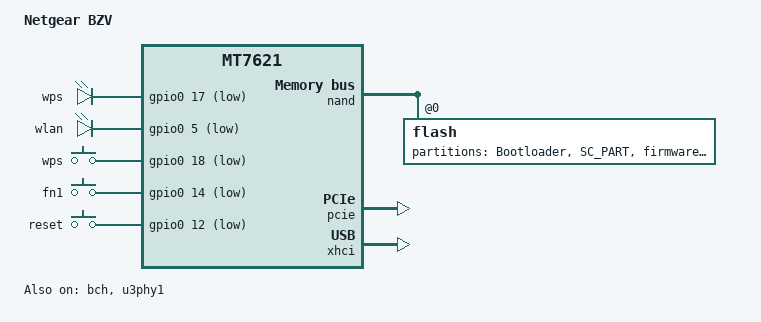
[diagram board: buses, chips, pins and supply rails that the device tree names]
/dts-v1/;

#include "mt7621.dtsi"
#include <dt-bindings/input/input.h>
#include "mt7621-raeth-gmac2.dtsi"
#include "mt7621-pinctrl-default-gpio.dtsi"

/ {
	compatible = "mediatek,mt7621-soc";
	model = "Netgear BZV";

	chosen {
		bootargs = "console=ttyS0,115200";
	};

	leds {
		compatible = "gpio-leds";

		wps {
			label = "wps";
			gpios = <&gpio0 17 GPIO_ACTIVE_LOW>;
		};

		wlan {
			label = "wlan";
			gpios = <&gpio0 5 GPIO_ACTIVE_LOW>;
		};
	};

	gpio-keys-polled {
		compatible = "gpio-keys-polled";
		#address-cells = <1>;
		#size-cells = <0>;
		poll-interval = <20>;

		wps {
			label = "wps";
			gpios = <&gpio0 18 GPIO_ACTIVE_LOW>;
			linux,code = <KEY_WPS_BUTTON>;
		};

		fn1 { /* wlan */
			label = "fn1";
			gpios = <&gpio0 14 GPIO_ACTIVE_LOW>;
			linux,code = <KEY_FN_1>;
		};

		reset {
			label = "reset";
			gpios = <&gpio0 12 GPIO_ACTIVE_LOW>;
			linux,code = <KEY_RESTART>;
		};
	};

};

&bch {
	status = "okay";
};

&nand {
	status = "okay";

	flash@0 {
		reg = <0>;
		nand-ecc-mode = "hw";
		partitions {
			compatible = "fixed-partitions";
			#address-cells = <1>;
			#size-cells = <1>;

			partition@0 {
				label = "Bootloader";
				reg = <0x0 0x100000>;		/* 1m */
			};

			partition@100000 {
				label = "SC_PART";
				reg = <0x100000 0x100000>;		/* 1m */
			};

			partition@200000 {
				label = "firmware";
				reg = <0x200000 0x2c00000>;		/* 44m */
			};

			partition@2e00000 {
				label = "reserved0";
				reg = <0x2e00000 0x1800000>;	/* 24m */
			};

			partition@4600000 {
				label = "Factory";
				reg = <0x4600000 0x200000>;		/* 2m */
			};

			partition@4800000 {
				label = "reserved1";
				reg = <0x4800000 0xc00000>;		/* 12m */
			};

			partition@5400000 {
				label = "Config";
				reg = <0x5400000 0x80000>;		/* 512k */
			};

			partition@5480000 {
				label = "Storage";
				reg = <0x5480000 0x400000>;		/* 4m */
			};

			partition@5880000 {
				label = "RWFS";
				reg = <0x5880000 0x2700000>;	/* 39m */
			};

			partition@all {
				label = "ALL";
				reg = <0x0 0x7f80000>;
			};
		};
	};
};

&pcie {
	status = "okay";
};

&xhci {
	status = "okay";
};

&u3phy1 {
	status = "okay";
};
